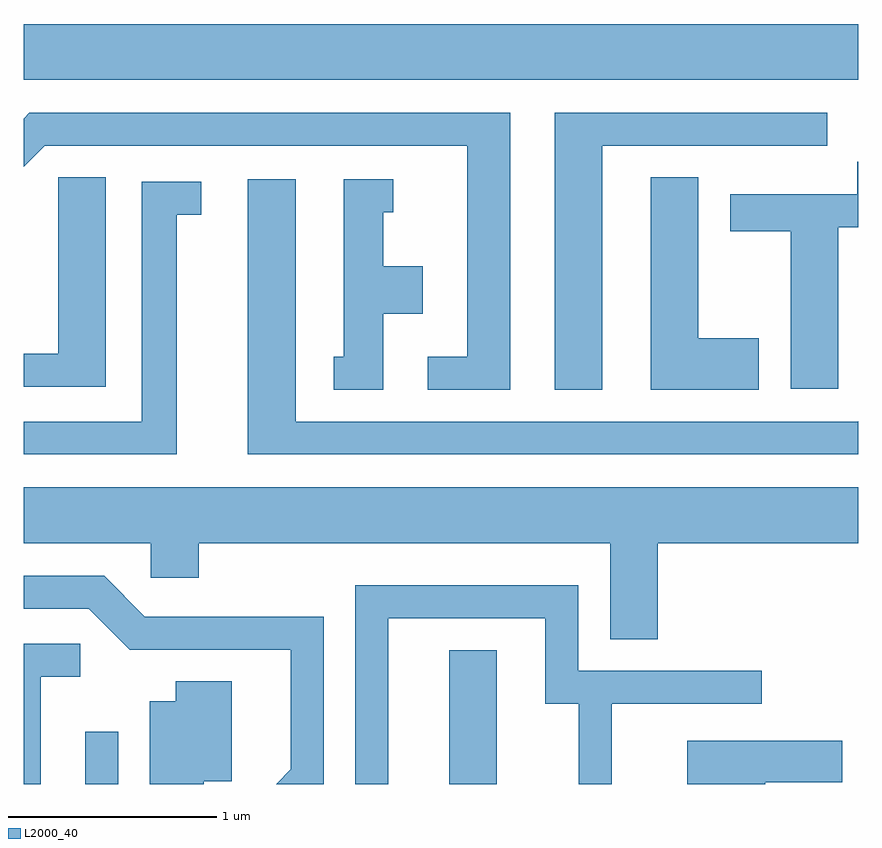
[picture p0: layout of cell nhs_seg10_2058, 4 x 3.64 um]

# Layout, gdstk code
import gdstk
lib = gdstk.Library(unit=1e-6, precision=1e-09)
def R(c, l, rs):  # rectangles x0, y0, x1, y1
    for r in rs: c.add(gdstk.rectangle(r[:2], r[2:], *l))
def P(c, l, *ps):  # polygons
    for p in ps: c.add(gdstk.Polygon(p, *l))
L2000_40 = (2000, 40)

nhs_seg10_2058 = lib.new_cell('nhs_seg10_2058')
R(nhs_seg10_2058, L2000_40, [(245.906,2130.522,246.064,2130.773), (247.651,2130.522,247.879,2131.164), (245.611,2133.896,249.611,2134.164)])
P(nhs_seg10_2058, L2000_40, [(248.384,2133.581),(249.463,2133.581),(249.463,2133.739),(248.156,2133.739),(248.156,2132.411),(248.384,2132.411)],
  [(247.944,2133.739),(245.639,2133.739),(245.611,2133.711),(245.611,2133.481),(245.712,2133.581),(247.736,2133.581),(247.736,2132.569),(247.548,2132.569),(247.548,2132.411),(247.944,2132.411)],
  [(249.514,2133.191),(249.611,2133.191),(249.611,2133.503),(249.606,2133.503),(249.606,2133.349),(248.996,2133.349),(248.996,2133.171),(249.286,2133.171),(249.286,2132.416),(249.514,2132.416)],
  [(246.004,2133.429),(245.776,2133.429),(245.776,2132.584),(245.611,2132.584),(245.611,2132.426),(246.004,2132.426)],
  [(249.134,2132.659),(248.844,2132.659),(248.844,2133.429),(248.616,2133.429),(248.616,2132.411),(249.134,2132.411)],
  [(249.611,2132.261),(249.609,2132.259),(246.914,2132.259),(246.914,2133.419),(246.686,2133.419),(246.686,2132.101),(249.611,2132.101)],
  [(247.334,2132.776),(247.524,2132.776),(247.524,2133.004),(247.334,2133.004),(247.334,2133.261),(247.383,2133.261),(247.383,2133.419),(247.146,2133.419),(247.146,2132.569),(247.098,2132.569),(247.098,2132.411),(247.334,2132.411)],
  [(246.344,2133.251),(246.463,2133.251),(246.463,2133.409),(246.176,2133.409),(246.176,2132.259),(245.611,2132.259),(245.611,2132.101),(246.344,2132.101)],
  [(248.649,2131.676),(249.611,2131.676),(249.611,2131.944),(245.611,2131.944),(245.611,2131.676),(246.221,2131.676),(246.221,2131.511),(246.449,2131.511),(246.449,2131.676),(248.421,2131.676),(248.421,2131.216),(248.649,2131.216)],
  [(247.049,2131.324),(246.192,2131.324),(245.997,2131.519),(245.611,2131.519),(245.611,2131.361),(245.924,2131.361),(246.119,2131.166),(246.891,2131.166),(246.891,2130.592),(246.821,2130.522),(247.049,2130.522)],
  [(247.359,2131.316),(248.111,2131.316),(248.111,2130.906),(248.271,2130.906),(248.271,2130.522),(248.429,2130.522),(248.429,2130.906),(249.148,2130.906),(249.148,2131.064),(248.269,2131.064),(248.269,2131.474),(247.201,2131.474),(247.201,2130.522),(247.359,2130.522)],
  [(245.694,2131.036),(245.883,2131.036),(245.883,2131.194),(245.611,2131.194),(245.611,2130.522),(245.694,2130.522)],
  [(246.474,2130.536),(246.609,2130.536),(246.609,2131.014),(246.341,2131.014),(246.341,2130.919),(246.216,2130.919),(246.216,2130.522),(246.474,2130.522)],
  [(249.164,2130.531),(249.534,2130.531),(249.534,2130.729),(248.791,2130.729),(248.791,2130.522),(249.164,2130.522)])

lib.write_gds('nhs_seg10_2058.gds')
